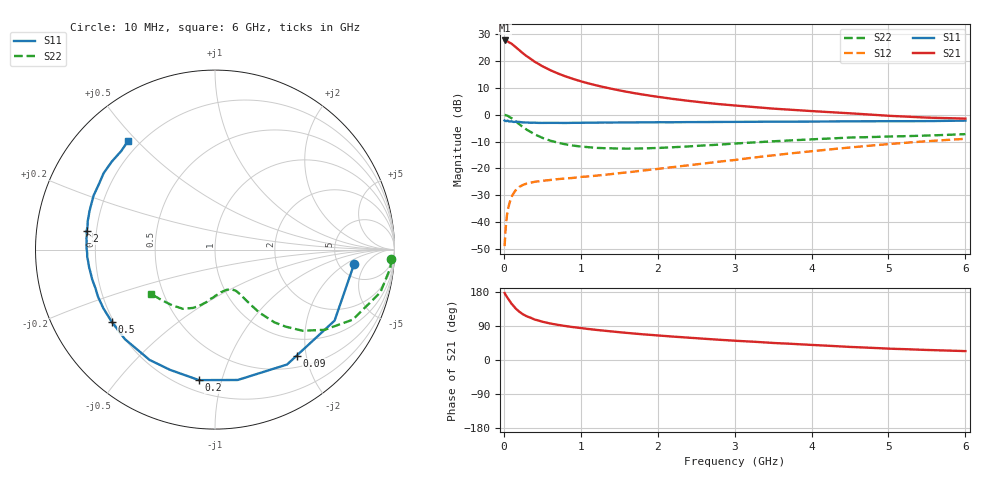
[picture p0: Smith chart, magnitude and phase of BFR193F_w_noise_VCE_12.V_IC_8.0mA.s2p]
! Infineon Technologies  Discrete & RF Semiconductors
! BFR193F
! VCE =  12. V,  IC =  8.0 mA
! Common Emitter S-Parameters:  Jan 2017
# GHz  S  MA  R  50
!  f  S11  S21  S12  S22
! GHz  MAG  ANG  MAG  ANG  MAG  ANG  MAG  ANG
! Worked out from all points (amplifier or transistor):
!   77 points, 10 MHz to 6 GHz, reference 50 ohm
!   highest |S21| = 27.6 dB at 10 MHz (marker M1)
!   |S21| within 3 dB of that: start of sweep to 175.9 MHz
!   unconditionally stable (mu >= 1): 1.673 GHz to 2.902 GHz
!   at 130 MHz: K = 0.15, MSG = 27.4 dB, |S12| = -29.1 dB
!   at 2.2 GHz: K = 1.05, MAG = 11.3 dB, |S12| = -19.5 dB
!   at 6 GHz: K = 0.77, MSG = 3.8 dB, |S12| = -9.0 dB
!   lowest NFmin = 0.84 dB at 450 MHz
!   S11 on the Smith chart (normalised r, x): 10 MHz: 6.89, -2.81; 90 MHz: 0.69, -1.83; 200 MHz: 0.27, -0.85; 500 MHz: 0.19, -0.30; 2 GHz: 0.16, +0.07; 6 GHz: 0.16, +0.47
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0.01  0.7791 -5.9  23.87 176.8  0.0036 84.0  0.9843 -3.1
0.02  0.7632 -13.0  23.52 172.9  0.0065 82.6  0.9823 -6.0
0.05  0.7749 -30.7  22.96 163.3  0.0166 74.4  0.9516 -14.5
0.09  0.7458 -52.4  21.14 151.6  0.027 63.7  0.876 -24.2
0.1  0.7557 -57.9  20.83 148.4  0.0297 62.2  0.8615 -26.9
0.15  0.7374 -80.1  18.16 136.7  0.0388 54.2  0.757 -36.2
0.2  0.7326 -97.0  15.8 127.6  0.0453 48.0  0.6653 -42.8
0.25  0.7153 -110.5  13.71 120.4  0.0496 44.1  0.5838 -47.4
0.3  0.7146 -120.7  12.1 115.1  0.0526 40.8  0.5226 -50.8
0.4  0.7077 -135.2  9.626 106.8  0.0565 37.7  0.4302 -54.8
0.5  0.7021 -145.0  7.933 101.1  0.0589 36.8  0.3706 -56.9
0.6  0.7028 -152.3  6.733 96.5  0.061 36.9  0.3298 -58.5
0.8  0.6999 -162.3  5.142 89.7  0.0652 39.0  0.281 -61.0
0.9  0.7042 -166.3  4.606 86.8  0.0667 41.3  0.266 -62.2
1.1  0.7084 -172.1  3.801 81.8  0.0711 44.5  0.2483 -65.1
1.5  0.7153 179.6  2.826 73.4  0.0817 51.9  0.2342 -72.4
2  0.7229 171.9  2.146 64.8  0.0981 59.8  0.2399 -82.3
2.1  0.7223 170.8  2.05 63.3  0.1021 61.0  0.2438 -84.0
3.1  0.7339 160.2  1.441 49.8  0.1499 70.2  0.2957 -99.2
4.1  0.7439 149.7  1.142 38.8  0.2158 72.2  0.3526 -112.4
5.1  0.7556 138.3  0.937 29.3  0.2908 68.8  0.3945 -129.6
6  0.7752 128.7  0.844 23.5  0.3552 63.4  0.4343 -145.5
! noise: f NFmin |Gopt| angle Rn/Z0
0.45  0.84  0.25  124  0.08
0.9  0.99  0.4  147  0.07
1.9  1.74  0.61  -177  0.05
2.4  2.11  0.64  -167  0.08
